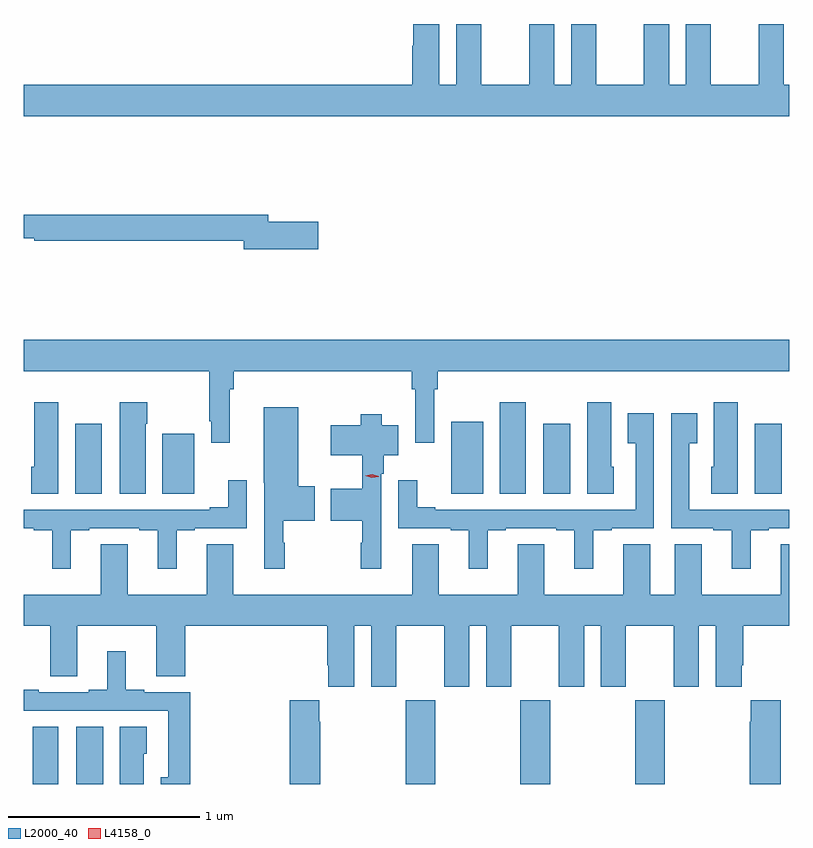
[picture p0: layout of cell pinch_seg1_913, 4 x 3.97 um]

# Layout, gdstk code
import gdstk
lib = gdstk.Library(unit=1e-6, precision=1e-09)
def R(c, l, rs):  # rectangles x0, y0, x1, y1
    for r in rs: c.add(gdstk.rectangle(r[:2], r[2:], *l))
def A(c, l, x, y, w, h, nx, ny, dx, dy):  # array of equal rectangles
    R(c, l, [(x+i*dx, y+j*dy, x+i*dx+w, y+j*dy+h) for i in range(nx) for j in range(ny)])
def P(c, l, *ps):  # polygons
    for p in ps: c.add(gdstk.Polygon(p, *l))
L2000_40 = (2000, 40)
L4158_0 = (4158, 0)

pinch_seg1_913 = lib.new_cell('pinch_seg1_913')
A(pinch_seg1_913, L2000_40, 185.059, 573.55, 0.155, 0.438, 3, 1, 0.6, 0)
R(pinch_seg1_913, L2000_40, [(183.11,573.55,183.244,573.848), (183.338,573.55,183.478,573.848), (183.332,575.068,183.472,575.434), (183.788,575.068,183.955,575.38), (185.297,575.068,185.464,575.443), (185.552,575.068,185.686,575.545), (185.78,575.068,185.92,575.434), (186.884,575.068,187.024,575.434)])
P(pinch_seg1_913, L2000_40, [(187.064,577.204),(187.036,577.204),(187.036,577.522),(186.905,577.522),(186.905,577.204),(186.655,577.204),(186.655,577.522),(186.524,577.522),(186.524,577.204),(186.436,577.204),(186.436,577.522),(186.305,577.522),(186.305,577.204),(186.055,577.204),(186.055,577.522),(185.924,577.522),(185.924,577.204),(185.836,577.204),(185.836,577.522),(185.705,577.522),(185.705,577.204),(185.455,577.204),(185.455,577.522),(185.324,577.522),(185.324,577.204),(185.236,577.204),(185.236,577.522),(185.099,577.522),(185.099,577.409),(185.093,577.409),(185.093,577.204),(183.064,577.204),(183.064,577.04),(187.064,577.04)],
  [(184.603,576.488),(184.342,576.488),(184.342,576.524),(183.064,576.524),(183.064,576.401),(183.118,576.401),(183.118,576.388),(184.214,576.388),(184.214,576.346),(184.603,576.346)],
  [(184.141,575.612),(184.16,575.612),(184.16,575.708),(185.092,575.708),(185.092,575.612),(185.111,575.612),(185.111,575.334),(185.208,575.334),(185.208,575.612),(185.228,575.612),(185.228,575.708),(187.064,575.708),(187.064,575.872),(183.064,575.872),(183.064,575.708),(184.032,575.708),(184.032,575.446),(184.044,575.446),(184.044,575.334),(184.141,575.334)],
  [(186.796,575.545),(186.671,575.545),(186.671,575.208),(186.656,575.208),(186.656,575.068),(186.796,575.068)],
  [(183.244,575.545),(183.119,575.545),(183.119,575.208),(183.104,575.208),(183.104,575.068),(183.244,575.068)],
  [(183.7,575.432),(183.708,575.432),(183.708,575.545),(183.566,575.545),(183.566,575.068),(183.7,575.068)],
  [(186.148,575.208),(186.133,575.208),(186.133,575.545),(186.008,575.545),(186.008,575.068),(186.148,575.068)],
  [(184.429,574.812),(184.419,574.812),(184.419,574.927),(184.584,574.927),(184.584,575.105),(184.498,575.105),(184.498,575.518),(184.319,575.518),(184.319,575.124),(184.32,575.124),(184.32,574.674),(184.429,574.674)],
  [(186.862,574.875),(186.958,574.875),(186.958,574.887),(187.064,574.887),(187.064,574.983),(186.543,574.983),(186.543,575.332),(186.583,575.332),(186.583,575.488),(186.447,575.488),(186.447,574.887),(186.668,574.887),(186.668,574.875),(186.764,574.875),(186.764,574.674),(186.862,574.674)],
  [(185.488,574.875),(185.584,574.875),(185.584,574.887),(185.846,574.887),(185.846,574.875),(185.942,574.875),(185.942,574.674),(186.04,574.674),(186.04,574.875),(186.136,574.875),(186.136,574.887),(186.357,574.887),(186.357,575.488),(186.221,575.488),(186.221,575.332),(186.261,575.332),(186.261,574.983),(185.215,574.983),(185.215,574.996),(185.119,574.996),(185.119,575.137),(185.022,575.137),(185.022,574.887),(185.294,574.887),(185.294,574.875),(185.39,574.875),(185.39,574.674),(185.488,574.674)],
  [(184.932,575.171),(184.945,575.171),(184.945,575.267),(185.02,575.267),(185.02,575.425),(184.934,575.425),(184.934,575.482),(184.824,575.482),(184.824,575.425),(184.668,575.425),(184.668,575.267),(184.834,575.267),(184.834,575.092),(184.669,575.092),(184.669,574.927),(184.834,574.927),(184.834,574.812),(184.824,574.812),(184.824,574.674),(184.932,574.674)],
  [(183.31,574.875),(183.406,574.875),(183.406,574.887),(183.668,574.887),(183.668,574.875),(183.764,574.875),(183.764,574.674),(183.862,574.674),(183.862,574.875),(183.958,574.875),(183.958,574.887),(184.23,574.887),(184.23,575.137),(184.133,575.137),(184.133,574.996),(184.037,574.996),(184.037,574.983),(183.064,574.983),(183.064,574.887),(183.116,574.887),(183.116,574.875),(183.212,574.875),(183.212,574.674),(183.31,574.674)],
  [(184.792,574.376),(184.88,574.376),(184.88,574.059),(185.011,574.059),(185.011,574.376),(185.261,574.376),(185.261,574.059),(185.392,574.059),(185.392,574.376),(185.48,574.376),(185.48,574.059),(185.611,574.059),(185.611,574.376),(185.861,574.376),(185.861,574.059),(185.992,574.059),(185.992,574.376),(186.08,574.376),(186.08,574.059),(186.211,574.059),(186.211,574.376),(186.461,574.376),(186.461,574.059),(186.592,574.059),(186.592,574.376),(186.68,574.376),(186.68,574.059),(186.817,574.059),(186.817,574.171),(186.824,574.171),(186.824,574.376),(187.064,574.376),(187.064,574.802),(187.019,574.802),(187.019,574.54),(186.607,574.54),(186.607,574.802),(186.467,574.802),(186.467,574.54),(186.337,574.54),(186.337,574.802),(186.197,574.802),(186.197,574.54),(185.785,574.54),(185.785,574.802),(185.645,574.802),(185.645,574.54),(185.233,574.54),(185.233,574.802),(185.093,574.802),(185.093,574.54),(184.159,574.54),(184.159,574.802),(184.019,574.802),(184.019,574.54),(183.607,574.54),(183.607,574.802),(183.467,574.802),(183.467,574.54),(183.064,574.54),(183.064,574.376),(183.203,574.376),(183.203,574.114),(183.343,574.114),(183.343,574.376),(183.755,574.376),(183.755,574.114),(183.908,574.114),(183.908,574.376),(184.649,574.376),(184.649,574.171),(184.655,574.171),(184.655,574.059),(184.792,574.059)],
  [(183.935,574.029),(183.694,574.029),(183.694,574.042),(183.598,574.042),(183.598,574.243),(183.5,574.243),(183.5,574.042),(183.404,574.042),(183.404,574.029),(183.142,574.029),(183.142,574.042),(183.064,574.042),(183.064,573.933),(183.819,573.933),(183.819,573.585),(183.779,573.585),(183.779,573.55),(183.935,573.55)],
  [(184.614,573.875),(184.609,573.875),(184.609,573.988),(184.454,573.988),(184.454,573.55),(184.614,573.55)],
  [(187.019,573.988),(186.863,573.988),(186.863,573.875),(186.859,573.875),(186.859,573.55),(187.019,573.55)],
  [(183.691,573.708),(183.706,573.708),(183.706,573.848),(183.566,573.848),(183.566,573.55),(183.691,573.55)])
P(pinch_seg1_913, L4158_0, [(184.883,575.15),(184.848,575.162),(184.848,575.162),(184.848,575.162),(184.884,575.17),(184.92,575.158),(184.92,575.158),(184.92,575.157)])

lib.write_gds('pinch_seg1_913.gds')
